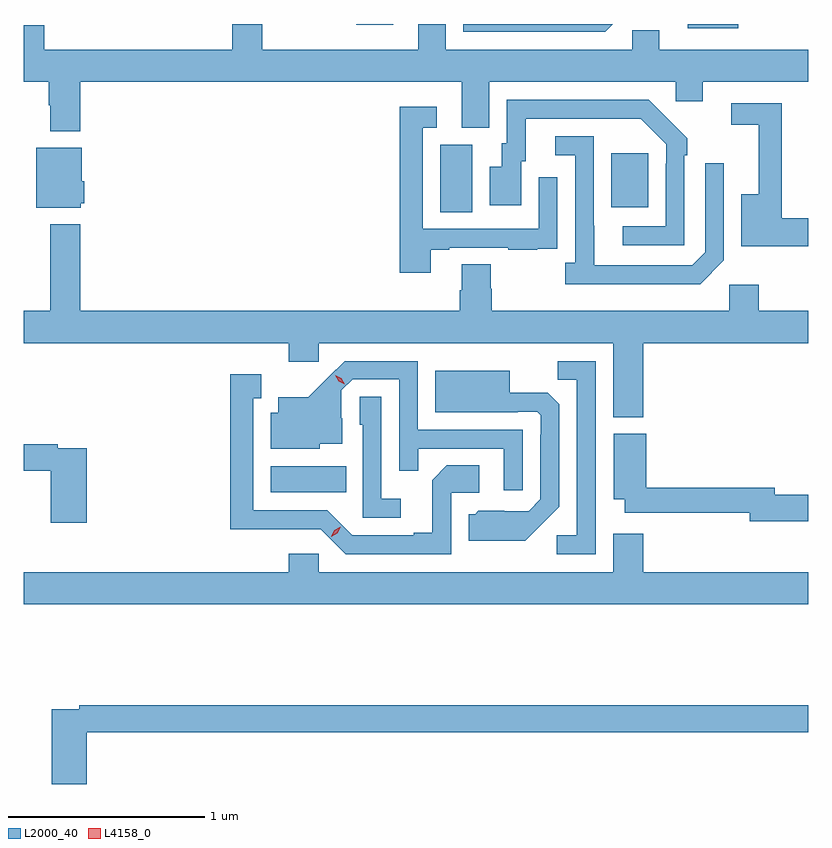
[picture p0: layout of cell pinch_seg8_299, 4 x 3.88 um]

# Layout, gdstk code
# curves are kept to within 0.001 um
import gdstk
lib = gdstk.Library(unit=1e-6, precision=1e-09)
def R(c, l, rs):  # rectangles x0, y0, x1, y1
    for r in rs: c.add(gdstk.rectangle(r[:2], r[2:], *l))
def P(c, l, *ps):  # polygons
    for p in ps: c.add(gdstk.Polygon(p, *l))
L2000_40 = (2000, 40)
L4158_0 = (4158, 0)

pinch_seg8_299 = lib.new_cell('pinch_seg8_299')
R(pinch_seg8_299, L2000_40, [(515.882,1137.05,516.266,1137.184), (516.746,1138.48,516.91,1138.824), (517.619,1138.505,517.807,1138.78), (518.01,1139.418,518.267,1139.439), (516.319,1139.436,516.508,1139.439)])
P(pinch_seg8_299, L2000_40, [(517.627,1139.439),(516.864,1139.439),(516.864,1139.4),(517.588,1139.4)],
  [(514.91,1139.144),(516.857,1139.144),(516.857,1138.909),(516.997,1138.909),(516.997,1139.144),(517.947,1139.144),(517.947,1139.046),(518.086,1139.046),(518.086,1139.144),(518.623,1139.144),(518.623,1139.308),(517.864,1139.308),(517.864,1139.406),(517.725,1139.406),(517.725,1139.308),(516.775,1139.308),(516.775,1139.439),(516.635,1139.439),(516.635,1139.308),(515.84,1139.308),(515.84,1139.439),(515.687,1139.439),(515.687,1139.308),(514.727,1139.308),(514.727,1139.432),(514.623,1139.432),(514.623,1139.144),(514.75,1139.144),(514.75,1139.024),(514.757,1139.024),(514.757,1138.892),(514.91,1138.892)],
  [(517.992,1138.769),(518.007,1138.769),(518.007,1138.857),(517.81,1139.052),(517.086,1139.052),(517.086,1138.83),(517.061,1138.83),(517.061,1138.711),(516.998,1138.711),(516.998,1138.515),(517.159,1138.515),(517.159,1138.74),(517.183,1138.74),(517.183,1138.956),(517.77,1138.956),(517.899,1138.827),(517.899,1138.727),(517.896,1138.727),(517.896,1138.407),(517.677,1138.407),(517.677,1138.311),(517.992,1138.311)],
  [(518.623,1138.448),(518.489,1138.448),(518.489,1139.034),(518.232,1139.034),(518.232,1138.926),(518.371,1138.926),(518.371,1138.57),(518.282,1138.57),(518.282,1138.306),(518.623,1138.306)],
  [(516.697,1138.287),(516.793,1138.287),(516.793,1138.299),(517.093,1138.299),(517.093,1138.287),(517.241,1138.287),(517.241,1138.293),(517.343,1138.293),(517.343,1138.402),(517.344,1138.402),(517.344,1138.657),(517.248,1138.657),(517.248,1138.395),(516.657,1138.395),(516.657,1138.911),(516.73,1138.911),(516.73,1139.017),(516.541,1139.017),(516.541,1138.17),(516.697,1138.17)],
  [(518.193,1138.233),(518.193,1138.729),(518.097,1138.729),(518.097,1138.275),(518.031,1138.209),(517.531,1138.209),(517.53,1138.866),(517.332,1138.866),(517.332,1138.77),(517.434,1138.77),(517.434,1138.222),(517.383,1138.222),(517.383,1138.112),(518.072,1138.112)],
  [(514.914,1138.524),(514.93,1138.524),(514.93,1138.638),(514.918,1138.638),(514.918,1138.807),(514.685,1138.807),(514.685,1138.502),(514.914,1138.502)],
  [(517.781,1137.812),(518.623,1137.812),(518.623,1137.976),(518.371,1137.976),(518.371,1138.108),(518.22,1138.108),(518.22,1137.976),(517.01,1137.976),(517.01,1138.089),(517.005,1138.089),(517.005,1138.214),(516.857,1138.214),(516.857,1138.082),(516.845,1138.082),(516.845,1137.976),(514.91,1137.976),(514.91,1138.417),(514.757,1138.417),(514.757,1137.976),(514.623,1137.976),(514.623,1137.812),(515.975,1137.812),(515.975,1137.717),(516.126,1137.717),(516.126,1137.812),(517.628,1137.812),(517.628,1137.434),(517.781,1137.434)],
  [(517.167,1137.369),(516.633,1137.369),(516.633,1137.72),(516.26,1137.72),(516.073,1137.535),(515.921,1137.535),(515.921,1137.456),(515.882,1137.456),(515.882,1137.272),(516.132,1137.272),(516.132,1137.299),(516.247,1137.299),(516.247,1137.428),(516.243,1137.428),(516.243,1137.57),(516.3,1137.627),(516.537,1137.627),(516.537,1137.16),(516.635,1137.16),(516.635,1137.273),(517.071,1137.273),(517.071,1137.06),(517.167,1137.06)],
  [(517.539,1137.72),(517.347,1137.72),(517.347,1137.625),(517.443,1137.625),(517.443,1136.832),(517.341,1136.832),(517.341,1136.736),(517.539,1136.736)],
  [(517.261,1136.885),(517.353,1136.978),(517.353,1137.5),(517.294,1137.559),(517.102,1137.559),(517.102,1137.67),(516.722,1137.67),(516.722,1137.458),(517.142,1137.458),(517.142,1137.462),(517.242,1137.462),(517.26,1137.444),(517.26,1137.344),(517.257,1137.344),(517.257,1137.015),(517.197,1136.955),(516.94,1136.956),(516.924,1136.94),(516.893,1136.94),(516.893,1136.804),(517.181,1136.804)],
  [(516.804,1137.048),(516.946,1137.048),(516.946,1137.188),(516.781,1137.188),(516.705,1137.112),(516.705,1136.845),(516.611,1136.845),(516.611,1136.832),(516.297,1136.832),(516.171,1136.958),(515.794,1136.958),(515.794,1137.531),(515.833,1137.531),(515.833,1137.652),(515.676,1137.652),(515.676,1136.861),(516.138,1136.862),(516.264,1136.736),(516.804,1136.736)],
  [(516.544,1137.019),(516.447,1137.019),(516.447,1137.539),(516.336,1137.539),(516.336,1137.396),(516.351,1137.396),(516.351,1136.922),(516.544,1136.922)],
  [(518.623,1137.038),(518.452,1137.038),(518.452,1137.074),(517.798,1137.074),(517.798,1137.349),(517.631,1137.349),(517.631,1137.014),(517.688,1137.014),(517.688,1136.946),(518.324,1136.946),(518.324,1136.903),(518.623,1136.903)],
  [(514.943,1137.276),(514.796,1137.276),(514.796,1137.296),(514.623,1137.296),(514.623,1137.16),(514.76,1137.16),(514.76,1136.895),(514.943,1136.895)],
  [(518.623,1136.644),(517.781,1136.644),(517.781,1136.839),(517.628,1136.839),(517.628,1136.644),(516.126,1136.644),(516.126,1136.737),(515.975,1136.737),(515.975,1136.644),(514.623,1136.644),(514.623,1136.48),(518.623,1136.48)],
  [(514.943,1135.828),(518.623,1135.828),(518.623,1135.964),(514.906,1135.964),(514.906,1135.944),(514.765,1135.944),(514.765,1135.563),(514.943,1135.563)])
P(pinch_seg8_299, L4158_0, [(516.259,1137.602),(516.228,1137.618),(516.211,1137.647),(516.211,1137.647),(516.211,1137.647),(516.242,1137.632),(516.259,1137.603),(516.259,1137.602)],
  [(516.19,1136.824),(516.19,1136.825),(516.207,1136.857),(516.239,1136.876),(516.239,1136.876),(516.239,1136.876),(516.222,1136.843),(516.19,1136.824)])

lib.write_gds('pinch_seg8_299.gds')
